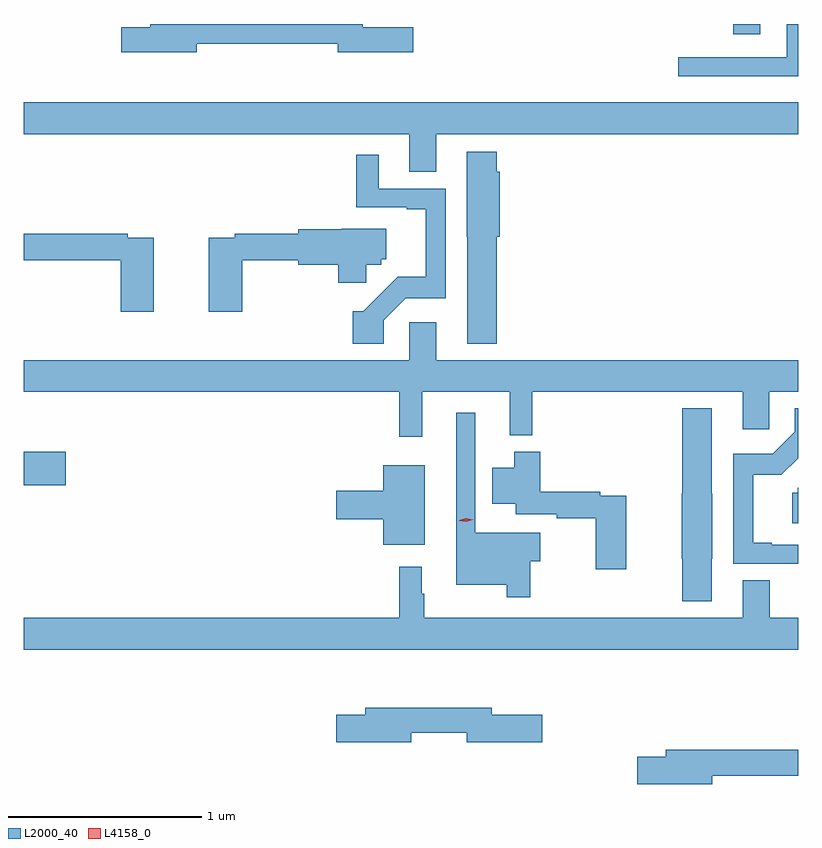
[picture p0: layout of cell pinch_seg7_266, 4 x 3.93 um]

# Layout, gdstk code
import gdstk
lib = gdstk.Library(unit=1e-6, precision=1e-09)
def R(c, l, rs):  # rectangles x0, y0, x1, y1
    for r in rs: c.add(gdstk.rectangle(r[:2], r[2:], *l))
def P(c, l, *ps):  # polygons
    for p in ps: c.add(gdstk.Polygon(p, *l))
L2000_40 = (2000, 40)
L4158_0 = (4158, 0)

pinch_seg7_266 = lib.new_cell('pinch_seg7_266')
R(pinch_seg7_266, L2000_40, [(696.522,1032.101,696.739,1032.276), (700.187,1034.433,700.327,1034.485)])
P(pinch_seg7_266, L2000_40, [(700.522,1034.485),(700.463,1034.485),(700.463,1034.313),(699.903,1034.313),(699.903,1034.216),(700.522,1034.216)],
  [(697.414,1034.382),(698.144,1034.382),(698.144,1034.339),(698.533,1034.339),(698.533,1034.469),(698.272,1034.469),(698.272,1034.485),(697.175,1034.485),(697.175,1034.469),(697.026,1034.469),(697.026,1034.339),(697.414,1034.339)],
  [(698.653,1033.916),(700.522,1033.916),(700.522,1034.08),(696.522,1034.08),(696.522,1033.916),(698.513,1033.916),(698.513,1033.722),(698.653,1033.722)],
  [(698.966,1033.386),(698.981,1033.386),(698.981,1033.722),(698.966,1033.722),(698.966,1033.825),(698.81,1033.825),(698.81,1033.386),(698.813,1033.386),(698.813,1032.833),(698.966,1032.833)],
  [(698.382,1032.954),(698.496,1033.068),(698.701,1033.068),(698.701,1033.635),(698.356,1033.635),(698.356,1033.81),(698.239,1033.81),(698.239,1033.539),(698.501,1033.539),(698.501,1033.527),(698.597,1033.527),(698.597,1033.178),(698.453,1033.178),(698.275,1033),(698.222,1033),(698.222,1032.834),(698.382,1032.834)],
  [(697.649,1033.264),(697.94,1033.264),(697.94,1033.241),(698.147,1033.241),(698.147,1033.148),(698.292,1033.148),(698.292,1033.242),(698.367,1033.242),(698.367,1033.269),(698.395,1033.269),(698.395,1033.426),(698.163,1033.426),(698.163,1033.424),(697.94,1033.424),(697.94,1033.4),(697.612,1033.4),(697.612,1033.38),(697.478,1033.38),(697.478,1032.999),(697.649,1032.999)],
  [(697.192,1033.38),(697.058,1033.38),(697.058,1033.4),(696.522,1033.4),(696.522,1033.264),(697.022,1033.264),(697.022,1032.999),(697.192,1032.999)],
  [(698.579,1032.584),(699.032,1032.584),(699.032,1032.359),(699.149,1032.359),(699.149,1032.584),(700.235,1032.584),(700.235,1032.39),(700.374,1032.39),(700.374,1032.584),(700.522,1032.584),(700.522,1032.748),(698.653,1032.748),(698.653,1032.943),(698.514,1032.943),(698.514,1032.748),(696.522,1032.748),(696.522,1032.584),(698.461,1032.584),(698.461,1032.351),(698.579,1032.351)],
  [(700.075,1031.721),(700.078,1031.721),(700.078,1032.057),(700.075,1032.057),(700.075,1032.499),(699.923,1032.499),(699.923,1032.057),(699.92,1032.057),(699.92,1031.721),(699.923,1031.721),(699.923,1031.501),(700.075,1031.501)],
  [(700.522,1031.793),(700.387,1031.793),(700.387,1031.805),(700.291,1031.805),(700.291,1032.155),(700.435,1032.155),(700.522,1032.242),(700.522,1032.499),(700.506,1032.499),(700.506,1032.378),(700.392,1032.264),(700.187,1032.264),(700.187,1031.697),(700.522,1031.697)],
  [(699.139,1031.71),(699.19,1031.71),(699.19,1031.857),(698.853,1031.857),(698.853,1032.475),(698.756,1032.475),(698.756,1031.588),(699.018,1031.588),(699.018,1031.523),(699.139,1031.523)],
  [(699.634,1032.048),(699.5,1032.048),(699.5,1032.068),(699.191,1032.068),(699.191,1032.274),(699.056,1032.274),(699.056,1032.193),(698.942,1032.193),(698.942,1032.005),(699.062,1032.005),(699.062,1031.952),(699.274,1031.952),(699.274,1031.932),(699.476,1031.932),(699.476,1031.667),(699.634,1031.667)],
  [(698.593,1032.205),(698.378,1032.205),(698.378,1032.074),(698.136,1032.074),(698.136,1031.927),(698.378,1031.927),(698.378,1031.795),(698.593,1031.795)],
  [(700.522,1032.09),(700.521,1032.09),(700.521,1032.063),(700.493,1032.063),(700.493,1031.906),(700.522,1031.906)],
  [(700.522,1031.416),(700.375,1031.416),(700.375,1031.611),(700.235,1031.611),(700.235,1031.416),(698.59,1031.416),(698.59,1031.54),(698.578,1031.54),(698.578,1031.68),(698.461,1031.68),(698.461,1031.416),(696.522,1031.416),(696.522,1031.252),(700.522,1031.252)],
  [(698.524,1030.822),(698.81,1030.822),(698.81,1030.775),(699.199,1030.775),(699.199,1030.917),(698.938,1030.917),(698.938,1030.951),(698.285,1030.951),(698.285,1030.917),(698.136,1030.917),(698.136,1030.775),(698.524,1030.775)],
  [(700.078,1030.6),(700.522,1030.6),(700.522,1030.736),(699.839,1030.736),(699.839,1030.7),(699.69,1030.7),(699.69,1030.558),(700.078,1030.558)])
P(pinch_seg7_266, L4158_0, [(698.808,1031.912),(698.772,1031.919),(698.771,1031.919),(698.772,1031.92),(698.806,1031.931),(698.842,1031.924),(698.843,1031.924),(698.842,1031.923)])

lib.write_gds('pinch_seg7_266.gds')
